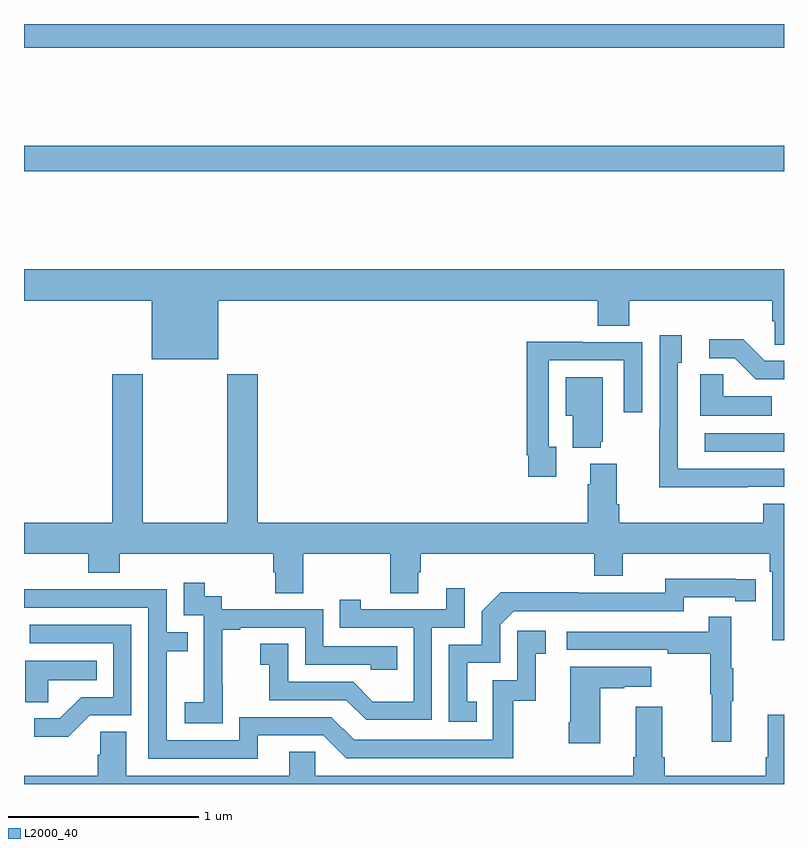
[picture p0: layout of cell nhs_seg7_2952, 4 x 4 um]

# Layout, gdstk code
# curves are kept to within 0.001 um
import gdstk
lib = gdstk.Library(unit=1e-6, precision=1e-09)
def R(c, l, rs):  # rectangles x0, y0, x1, y1
    for r in rs: c.add(gdstk.rectangle(r[:2], r[2:], *l))
def P(c, l, *ps):  # polygons
    for p in ps: c.add(gdstk.Polygon(p, *l))
L2000_40 = (2000, 40)

nhs_seg7_2952 = lib.new_cell('nhs_seg7_2952')
R(nhs_seg7_2952, L2000_40, [(302.583,1071.75,303,1071.846), (299,1073.224,303,1073.36), (299,1073.876,303,1074)])
P(nhs_seg7_2952, L2000_40, [(300.022,1072.544),(302.021,1072.544),(302.021,1072.411),(302.186,1072.411),(302.186,1072.544),(302.939,1072.544),(302.939,1072.435),(302.952,1072.435),(302.952,1072.312),(303,1072.312),(303,1072.708),(299,1072.708),(299,1072.544),(299.672,1072.544),(299.672,1072.235),(300.022,1072.235)],
  [(302.807,1071.564),(303,1071.564),(303,1071.66),(302.442,1071.66),(302.442,1072.218),(302.461,1072.218),(302.461,1072.363),(302.346,1072.363),(302.346,1071.869),(302.344,1071.869),(302.344,1071.563),(302.807,1071.563)],
  [(303,1072.227),(302.898,1072.227),(302.785,1072.34),(302.607,1072.34),(302.607,1072.242),(302.741,1072.242),(302.852,1072.131),(303,1072.131)],
  [(301.801,1071.774),(301.761,1071.774),(301.761,1072.23),(302.157,1072.23),(302.157,1071.957),(302.253,1071.957),(302.253,1072.326),(301.937,1072.326),(301.937,1072.328),(301.645,1072.328),(301.645,1071.73),(301.653,1071.73),(301.653,1071.618),(301.801,1071.618)],
  [(302.936,1072.042),(302.679,1072.042),(302.679,1072.157),(302.558,1072.157),(302.558,1071.938),(302.936,1071.938)],
  [(303,1071.475),(302.891,1071.475),(302.891,1071.376),(302.132,1071.376),(302.132,1071.472),(302.119,1071.472),(302.119,1071.685),(301.979,1071.685),(301.979,1071.578),(301.967,1071.578),(301.967,1071.376),(300.23,1071.376),(300.23,1072.156),(300.07,1072.156),(300.07,1071.376),(299.625,1071.376),(299.625,1072.156),(299.465,1072.156),(299.465,1071.376),(299,1071.376),(299,1071.212),(299.339,1071.212),(299.339,1071.113),(299.504,1071.113),(299.504,1071.212),(300.311,1071.212),(300.311,1071.114),(300.323,1071.114),(300.323,1071.004),(300.471,1071.004),(300.471,1071.212),(300.928,1071.212),(300.928,1071.004),(301.075,1071.004),(301.075,1071.114),(301.088,1071.114),(301.088,1071.212),(302,1071.212),(302,1071.095),(302.152,1071.095),(302.152,1071.212),(302.924,1071.212),(302.924,1071.116),(302.937,1071.116),(302.937,1070.757),(303,1070.757)],
  [(302.036,1071.801),(302.047,1071.801),(302.047,1072.141),(301.85,1072.141),(301.85,1071.938),(301.889,1071.938),(301.889,1071.77),(302.036,1071.77)],
  [(301.382,1070.433),(301.333,1070.433),(301.333,1070.637),(301.506,1070.637),(301.506,1070.838),(301.578,1070.91),(302.472,1070.91),(302.472,1070.982),(302.744,1070.982),(302.744,1070.962),(302.852,1070.962),(302.852,1071.078),(302.376,1071.079),(302.376,1071.006),(301.916,1071.006),(301.916,1071.008),(301.508,1071.008),(301.41,1070.91),(301.41,1070.733),(301.236,1070.733),(301.236,1070.328),(301.382,1070.328)],
  [(300.045,1070.527),(300.044,1070.527),(300.044,1070.811),(300.139,1070.811),(300.139,1070.823),(300.48,1070.823),(300.48,1070.628),(300.825,1070.628),(300.825,1070.601),(300.965,1070.601),(300.965,1070.724),(300.576,1070.724),(300.576,1070.919),(300.042,1070.919),(300.042,1070.988),(299.95,1070.988),(299.95,1071.058),(299.841,1071.058),(299.841,1070.889),(299.946,1070.889),(299.946,1070.66),(299.945,1070.66),(299.945,1070.431),(299.847,1070.431),(299.847,1070.321),(300.045,1070.321)],
  [(301.146,1070.823),(301.32,1070.823),(301.32,1071.031),(301.223,1071.031),(301.223,1070.919),(300.772,1070.919),(300.772,1070.971),(300.661,1070.971),(300.661,1070.823),(301.05,1070.823),(301.05,1070.434),(300.836,1070.434),(300.732,1070.538),(300.39,1070.538),(300.39,1070.737),(300.243,1070.737),(300.243,1070.627),(300.292,1070.627),(300.292,1070.442),(300.695,1070.442),(300.8,1070.337),(301.146,1070.337)],
  [(300.229,1070.256),(300.576,1070.256),(300.696,1070.136),(301.576,1070.136),(301.576,1070.439),(301.694,1070.439),(301.694,1070.685),(301.747,1070.685),(301.747,1070.806),(301.596,1070.806),(301.596,1070.547),(301.467,1070.547),(301.467,1070.232),(300.738,1070.232),(300.618,1070.352),(300.132,1070.352),(300.132,1070.229),(299.751,1070.229),(299.751,1070.698),(299.861,1070.698),(299.861,1070.799),(299.751,1070.799),(299.751,1071.024),(299.255,1071.024),(299.255,1071.026),(299,1071.026),(299,1070.928),(299.655,1070.928),(299.655,1070.133),(300.229,1070.133)],
  [(302.723,1070.435),(302.734,1070.435),(302.734,1070.609),(302.723,1070.609),(302.723,1070.881),(302.605,1070.881),(302.605,1070.802),(301.857,1070.802),(301.857,1070.706),(302.389,1070.706),(302.389,1070.686),(302.613,1070.686),(302.613,1070.472),(302.62,1070.472),(302.62,1070.223),(302.723,1070.223)],
  [(299.346,1070.361),(299.565,1070.361),(299.565,1070.838),(299.031,1070.838),(299.031,1070.742),(299.469,1070.742),(299.469,1070.457),(299.3,1070.457),(299.189,1070.346),(299.055,1070.346),(299.055,1070.249),(299.233,1070.249)],
  [(299.127,1070.546),(299.384,1070.546),(299.384,1070.65),(299.006,1070.65),(299.006,1070.431),(299.127,1070.431)],
  [(302.032,1070.503),(302.159,1070.503),(302.159,1070.513),(302.302,1070.513),(302.302,1070.617),(301.874,1070.617),(301.874,1070.326),(301.867,1070.326),(301.867,1070.214),(302.032,1070.214)],
  [(303,1070.365),(302.915,1070.365),(302.915,1070.14),(302.903,1070.14),(302.903,1070.044),(302.372,1070.044),(302.372,1070.14),(302.359,1070.14),(302.359,1070.407),(302.219,1070.407),(302.219,1070.14),(302.207,1070.14),(302.207,1070.044),(300.534,1070.044),(300.534,1070.171),(300.395,1070.171),(300.395,1070.044),(299.539,1070.044),(299.539,1070.276),(299.4,1070.276),(299.4,1070.153),(299.387,1070.153),(299.387,1070.044),(299,1070.044),(299,1070),(303,1070)])

lib.write_gds('nhs_seg7_2952.gds')
